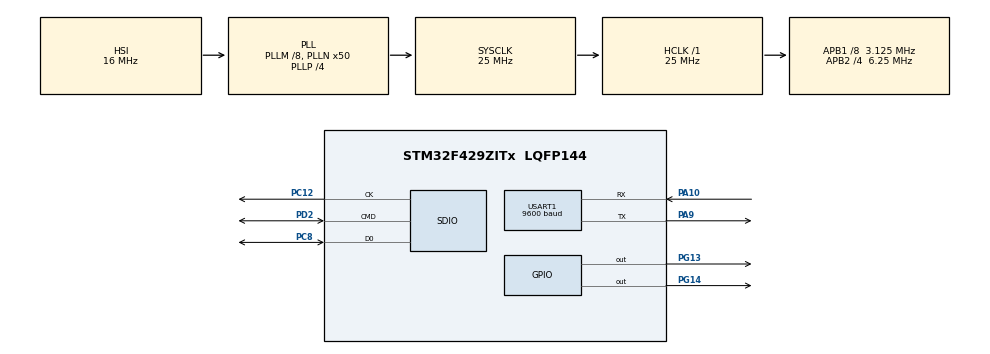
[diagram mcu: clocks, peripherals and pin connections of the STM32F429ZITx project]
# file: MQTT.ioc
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Dma.Request0=USART1_RX
Dma.Request1=USART1_TX
Dma.USART1_RX.0.Direction=DMA_PERIPH_TO_MEMORY
Dma.USART1_RX.0.FIFOMode=DMA_FIFOMODE_DISABLE
Dma.USART1_RX.0.Instance=DMA2_Stream2
Dma.USART1_RX.0.MemDataAlignment=DMA_MDATAALIGN_BYTE
Dma.USART1_RX.0.MemInc=DMA_MINC_ENABLE
Dma.USART1_RX.0.Mode=DMA_NORMAL
Dma.USART1_RX.0.PeriphDataAlignment=DMA_PDATAALIGN_BYTE
Dma.USART1_RX.0.PeriphInc=DMA_PINC_DISABLE
Dma.USART1_RX.0.Priority=DMA_PRIORITY_LOW
Dma.USART1_TX.1.Direction=DMA_MEMORY_TO_PERIPH
Dma.USART1_TX.1.FIFOMode=DMA_FIFOMODE_DISABLE
Dma.USART1_TX.1.Instance=DMA2_Stream7
Dma.USART1_TX.1.MemDataAlignment=DMA_MDATAALIGN_BYTE
Dma.USART1_TX.1.MemInc=DMA_MINC_ENABLE
Dma.USART1_TX.1.Mode=DMA_NORMAL
Dma.USART1_TX.1.PeriphDataAlignment=DMA_PDATAALIGN_BYTE
Dma.USART1_TX.1.PeriphInc=DMA_PINC_DISABLE
Dma.USART1_TX.1.Priority=DMA_PRIORITY_LOW
FATFS.USE_DMA_CODE_SD=0
Mcu.Family=STM32F4
Mcu.Name=STM32F429ZITx
Mcu.Package=LQFP144
NVIC.DMA2_Stream2_IRQn=true\:0\:0\:false\:false\:true\:false
NVIC.DMA2_Stream7_IRQn=true\:0\:0\:false\:false\:true\:false
NVIC.PriorityGroup=NVIC_PRIORITYGROUP_0
NVIC.USART1_IRQn=true\:0\:0\:false\:false\:true\:true
PA10.Mode=Asynchronous
PA10.Signal=USART1_RX
PA9.Mode=Asynchronous
PA9.Signal=USART1_TX
PC12.GPIO_PuPd=GPIO_PULLUP
PC12.Mode=SD_1_bit
PC12.Signal=SDIO_CK
PC8.GPIO_PuPd=GPIO_PULLUP
PC8.Mode=SD_1_bit
PC8.Signal=SDIO_D0
PD2.GPIO_PuPd=GPIO_PULLUP
PD2.Mode=SD_1_bit
PD2.Signal=SDIO_CMD
PG13.Signal=GPIO_Output
PG14.Signal=GPIO_Output
ProjectManager.HeapSize=0x200
ProjectManager.StackSize=0x400
ProjectManager.TargetToolchain=MDK-ARM V5
RCC.48MHZClocksFreq_Value=14285714.285714285
RCC.AHBFreq_Value=25000000
RCC.APB1CLKDivider=RCC_HCLK_DIV8
RCC.APB1Freq_Value=3125000
RCC.APB1TimFreq_Value=6250000
RCC.APB2CLKDivider=RCC_HCLK_DIV4
RCC.APB2Freq_Value=6250000
RCC.APB2TimFreq_Value=12500000
RCC.CortexFreq_Value=25000000
RCC.HCLKFreq_Value=25000000
RCC.HSE_VALUE=8000000
RCC.HSI_VALUE=16000000
RCC.LSE_VALUE=32768
RCC.PLLM=8
RCC.PLLN=50
RCC.PLLP=RCC_PLLP_DIV4
RCC.PLLQ=7
RCC.SYSCLKFreq_VALUE=25000000
RCC.SYSCLKSource=RCC_SYSCLKSOURCE_PLLCLK
RCC.VCOOutputFreq_Value=100000000
USART1.BaudRate=9600
USART1.VirtualMode=VM_ASYNC
VP_FATFS_VS_SDIO.Mode=SDIO
board=STM32F429I-DISC1

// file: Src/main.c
/**
  ******************************************************************************
  * File Name          : main.c
  * Description        : Main program body
  ******************************************************************************
  * This notice applies to any and all portions of this file
  * that are not between comment pairs USER CODE BEGIN and
  * USER CODE END. Other portions of this file, whether
  * inserted by the user or by software development tools
  * are owned by their respective copyright owners.
  *
  * Copyright (c) 2018 STMicroelectronics International N.V.
  * All rights reserved.
  *
  * Redistribution and use in source and binary forms, with or without
  * modification, are permitted, provided that the following conditions are met:
  *
  * 1. Redistribution of source code must retain the above copyright notice,
  *    this list of conditions and the following disclaimer.
  * 2. Redistributions in binary form must reproduce the above copyright notice,
  *    this list of conditions and the following disclaimer in the documentation
  *    and/or other materials provided with the distribution.
  * 3. Neither the name of STMicroelectronics nor the names of other
  *    contributors to this software may be used to endorse or promote products
  *    derived from this software without specific written permission.
  * 4. This software, including modifications and/or derivative works of this
  *    software, must execute solely and exclusively on microcontroller or
  *    microprocessor devices manufactured by or for STMicroelectronics.
  * 5. Redistribution and use of this software other than as permitted under
  *    this license is void and will automatically terminate your rights under
  *    this license.
  *
  * THIS SOFTWARE IS PROVIDED BY STMICROELECTRONICS AND CONTRIBUTORS "AS IS"
  * AND ANY EXPRESS, IMPLIED OR STATUTORY WARRANTIES, INCLUDING, BUT NOT
  * LIMITED TO, THE IMPLIED WARRANTIES OF MERCHANTABILITY, FITNESS FOR A
  * PARTICULAR PURPOSE AND NON-INFRINGEMENT OF THIRD PARTY INTELLECTUAL PROPERTY
  * RIGHTS ARE DISCLAIMED TO THE FULLEST EXTENT PERMITTED BY LAW. IN NO EVENT
  * SHALL STMICROELECTRONICS OR CONTRIBUTORS BE LIABLE FOR ANY DIRECT, INDIRECT,
  * INCIDENTAL, SPECIAL, EXEMPLARY, OR CONSEQUENTIAL DAMAGES (INCLUDING, BUT NOT
  * LIMITED TO, PROCUREMENT OF SUBSTITUTE GOODS OR SERVICES; LOSS OF USE, DATA,
  * OR PROFITS; OR BUSINESS INTERRUPTION) HOWEVER CAUSED AND ON ANY THEORY OF
  * LIABILITY, WHETHER IN CONTRACT, STRICT LIABILITY, OR TORT (INCLUDING
  * NEGLIGENCE OR OTHERWISE) ARISING IN ANY WAY OUT OF THE USE OF THIS SOFTWARE,
  * EVEN IF ADVISED OF THE POSSIBILITY OF SUCH DAMAGE.
  *
  ******************************************************************************
  */

#include "main.h"
#include "stm32f4xx_hal.h"
#include "fatfs.h"

/* USER CODE BEGIN Includes */
#include <string.h>
#include <stdlib.h>
#include <stdio.h>
#include <stdbool.h>
#include "MQTTPacket.h"
/* USER CODE END Includes */

SD_HandleTypeDef hsd;

UART_HandleTypeDef huart1;
DMA_HandleTypeDef hdma_usart1_rx;
DMA_HandleTypeDef hdma_usart1_tx;

/* USER CODE BEGIN PV */
HAL_SD_CardInfoTypeDef SDCardInfo;
/* Private variables ---------------------------------------------------------*/
FRESULT res;
#define RX_TIMEOUT          ((uint32_t)0xFFFFFFFF)
char* UploadFile = "upload.txt";
/* USER CODE END PV */

void SystemClock_Config(void);
static void MX_GPIO_Init(void);
static void MX_DMA_Init(void);
static void MX_USART1_UART_Init(void);
static void MX_SDIO_SD_Init(void);

/* USER CODE BEGIN PFP */
/* Private function prototypes -----------------------------------------------*/
void main_menu(void);
void mqtt_init(void);
int read_file(char* filename, char* Buff);
void mqtt_pub(void);
void mqtt_connect(void);
int fsize(char* file);
void gprs_initialize(void);
/* USER CODE END PFP */

/* USER CODE BEGIN 0 */
char buffr[500];
unsigned char SMSCTRLZ   = 0x1A;
char mx[60];char vx[50];
uint8_t receive,rx=0,cnt=0;
unsigned int z=0;
bool UPLOAD_FILE=false,LOG_DATA=false;
char data[200];
void HAL_UART_RxCpltCallback(UART_HandleTypeDef *huart);
/* USER CODE END 0 */

int main(void)
{

  /* MCU Configuration----------------------------------------------------------*/

  /* Reset of all peripherals, Initializes the Flash interface and the Systick. */
  HAL_Init();

  /* Configure the system clock */
  SystemClock_Config();

  /* Initialize all configured peripherals */
  MX_GPIO_Init();
  MX_DMA_Init();
  MX_USART1_UART_Init();
  MX_SDIO_SD_Init();
  MX_FATFS_Init();

  /* USER CODE BEGIN 2 */
   res = f_mount(&SDFatFS, SDPath, 1);
   if(res!=FR_OK){HAL_UART_Transmit_DMA(&huart1,(uint8_t *)"SD Card Not Mounted\r\n",21);}
   else
    {
      HAL_UART_Transmit_DMA(&huart1,(uint8_t *)"SD Card Mounted\r\n",17);
      main_menu();//Displays Run time Status on Serial Port
    }
   	HAL_GPIO_TogglePin(GPIOG,GPIO_PIN_13);
  /* USER CODE END 2 */

  /* Infinite loop */
  /* USER CODE BEGIN WHILE */
  while (1)
  {
    if(UPLOAD_FILE == true)
    {
			memset(buffr,'\0',sizeof(buffr));
		  int leng = read_file(UploadFile,buffr);
			/*Introduced As Guard Time or UART transmission fucks Up(Spent 5 hrs on this)
			NOT Necessary here but was a PINTA when executing two UART_transmit command successively.
			*/
			HAL_Delay(300);
      mqtt_pub();
      UPLOAD_FILE=false;
    }
		HAL_Delay(50);
  /* USER CODE END WHILE */

  }

}

/** System Clock Configuration
*/
void SystemClock_Config(void)
{

  RCC_OscInitTypeDef RCC_OscInitStruct;
  RCC_ClkInitTypeDef RCC_ClkInitStruct;

    /**Configure the main internal regulator output voltage
    */
  __HAL_RCC_PWR_CLK_ENABLE();

  __HAL_PWR_VOLTAGESCALING_CONFIG(PWR_REGULATOR_VOLTAGE_SCALE3);

    /**Initializes the CPU, AHB and APB busses clocks
    */
  RCC_OscInitStruct.OscillatorType = RCC_OSCILLATORTYPE_HSI;
  RCC_OscInitStruct.HSIState = RCC_HSI_ON;
  RCC_OscInitStruct.HSICalibrationValue = 16;
  RCC_OscInitStruct.PLL.PLLState = RCC_PLL_ON;
  RCC_OscInitStruct.PLL.PLLSource = RCC_PLLSOURCE_HSI;
  RCC_OscInitStruct.PLL.PLLM = 8;
  RCC_OscInitStruct.PLL.PLLN = 50;
  RCC_OscInitStruct.PLL.PLLP = RCC_PLLP_DIV4;
  RCC_OscInitStruct.PLL.PLLQ = 7;
  if (HAL_RCC_OscConfig(&RCC_OscInitStruct) != HAL_OK)
  {
    _Error_Handler(__FILE__, __LINE__);
  }

    /**Initializes the CPU, AHB and APB busses clocks
    */
  RCC_ClkInitStruct.ClockType = RCC_CLOCKTYPE_HCLK|RCC_CLOCKTYPE_SYSCLK
                              |RCC_CLOCKTYPE_PCLK1|RCC_CLOCKTYPE_PCLK2;
  RCC_ClkInitStruct.SYSCLKSource = RCC_SYSCLKSOURCE_PLLCLK;
  RCC_ClkInitStruct.AHBCLKDivider = RCC_SYSCLK_DIV1;
  RCC_ClkInitStruct.APB1CLKDivider = RCC_HCLK_DIV8;
  RCC_ClkInitStruct.APB2CLKDivider = RCC_HCLK_DIV4;

  if (HAL_RCC_ClockConfig(&RCC_ClkInitStruct, FLASH_LATENCY_0) != HAL_OK)
  {
    _Error_Handler(__FILE__, __LINE__);
  }

    /**Configure the Systick interrupt time
    */
  HAL_SYSTICK_Config(HAL_RCC_GetHCLKFreq()/1000);

    /**Configure the Systick
    */
  HAL_SYSTICK_CLKSourceConfig(SYSTICK_CLKSOURCE_HCLK);

  /* SysTick_IRQn interrupt configuration */
  HAL_NVIC_SetPriority(SysTick_IRQn, 0, 0);
}

/* SDIO init function */
static void MX_SDIO_SD_Init(void)
{

  hsd.Instance = SDIO;
  hsd.Init.ClockEdge = SDIO_CLOCK_EDGE_RISING;
  hsd.Init.ClockBypass = SDIO_CLOCK_BYPASS_DISABLE;
  hsd.Init.ClockPowerSave = SDIO_CLOCK_POWER_SAVE_DISABLE;
  hsd.Init.BusWide = SDIO_BUS_WIDE_1B;
  hsd.Init.HardwareFlowControl = SDIO_HARDWARE_FLOW_CONTROL_DISABLE;
  hsd.Init.ClockDiv = 0;

}

/* USART1 init function */
static void MX_USART1_UART_Init(void)
{

  huart1.Instance = USART1;
  huart1.Init.BaudRate = 9600;
  huart1.Init.WordLength = UART_WORDLENGTH_8B;
  huart1.Init.StopBits = UART_STOPBITS_1;
  huart1.Init.Parity = UART_PARITY_NONE;
  huart1.Init.Mode = UART_MODE_TX_RX;
  huart1.Init.HwFlowCtl = UART_HWCONTROL_NONE;
  huart1.Init.OverSampling = UART_OVERSAMPLING_16;
  if (HAL_UART_Init(&huart1) != HAL_OK)
  {
    _Error_Handler(__FILE__, __LINE__);
  }

}

static void MX_DMA_Init(void)
{
  /* DMA controller clock enable */
  __HAL_RCC_DMA2_CLK_ENABLE();

  /* DMA interrupt init */
  /* DMA2_Stream2_IRQn interrupt configuration */
  HAL_NVIC_SetPriority(DMA2_Stream2_IRQn, 0, 0);
  HAL_NVIC_EnableIRQ(DMA2_Stream2_IRQn);
  /* DMA2_Stream7_IRQn interrupt configuration */
  HAL_NVIC_SetPriority(DMA2_Stream7_IRQn, 0, 0);
  HAL_NVIC_EnableIRQ(DMA2_Stream7_IRQn);

}

/** Configure pins as
        * Analog
        * Input
        * Output
        * EVENT_OUT
        * EXTI
*/
static void MX_GPIO_Init(void)
{

  GPIO_InitTypeDef GPIO_InitStruct;

  /* GPIO Ports Clock Enable */
  __HAL_RCC_GPIOC_CLK_ENABLE();
  __HAL_RCC_GPIOA_CLK_ENABLE();
  __HAL_RCC_GPIOD_CLK_ENABLE();
  __HAL_RCC_GPIOG_CLK_ENABLE();

  /*Configure GPIO pin Output Level */
  HAL_GPIO_WritePin(GPIOG, GPIO_PIN_13|GPIO_PIN_14, GPIO_PIN_RESET);

  /*Configure GPIO pins : PG13 PG14 */
  GPIO_InitStruct.Pin = GPIO_PIN_13|GPIO_PIN_14;
  GPIO_InitStruct.Mode = GPIO_MODE_OUTPUT_PP;
  GPIO_InitStruct.Pull = GPIO_NOPULL;
  GPIO_InitStruct.Speed = GPIO_SPEED_FREQ_LOW;
  HAL_GPIO_Init(GPIOG, &GPIO_InitStruct);

}

/* USER CODE BEGIN 4 */
int read_file(char* filename, char* Buff)
{
  int j=0;
  while(z<fsize(UploadFile))
  {
		f_open(&SDFile,UploadFile,FA_READ);
    char mydata[15]="\0";
    memset(mydata,0,sizeof(mydata));
    f_lseek(&SDFile, z);
    f_gets(mydata,sizeof(mydata),&SDFile);
    z +=strlen(mydata);
    j += sprintf( Buff + j, mydata);
		f_close(&SDFile);
  }
  return z;
}
void gprs_initialize(void)
{
  char AT [9][30] = {
       "AT+QIFGCNT=0\r\n","AT+QICSGP=1,\"CMNET\"\r\n","AT+QIMUX=0\r\n","AT+QIMODE=1\r\n"
       ,"AT+QITCFG=3,2,512,1\r\n","AT+QIDNSIP=1\r\n","AT+QIREGAPP\r\n","AT+QIACT\r\n","AT+QILOCIP\r\n"};
  if(cnt<=8)
  {
    char mydata[100]="\0";
    sprintf(mydata,"%s",AT[cnt]);
    HAL_UART_Transmit_DMA(&huart1,(uint8_t*)&mydata,strlen(mydata));
    ++cnt;
  }
}
void HAL_UART_RxCpltCallback(UART_HandleTypeDef *huart)
{
  HAL_UART_Receive_DMA(&huart1,(uint8_t *)&receive,sizeof(receive));
  data[rx]=receive;
   if((strstr(data,"SMS Ready")!=NULL)&&(strstr(data,"+CIEV:")!=NULL))
   {
      HAL_UART_Transmit_DMA(&huart1,(uint8_t *)"AT\r\n",4);
      memset(data,'\0',sizeof(data));rx=0;
   }
   else if(data[rx-3]=='O'&&data[rx-2]=='K'&&data[rx-1]=='\r'&&data[rx]=='\n')
   {
    gprs_initialize();
    memset(data,'\0',sizeof(data));rx=0;
   }

   else if(cnt==9)
   {
    memset(data,'\0',sizeof(data));rx=0;
    ++cnt;
    HAL_UART_Transmit_DMA(&huart1,(uint8_t *)"AT+QIOPEN=\"TCP\",\"DOMAIN_NAME\",\"PORT\"\r\n",45);
   }
    //For Connecting to the HTTP Server
  //else if(data[rx-6]=='C'&&data[rx-5]=='O'&&data[rx-4]=='N'&&data[rx-3]=='N'&&data[rx-2]=='E'&&data[rx-1]=='C'&&data[rx]=='T')//Furtehr Add OR condition for continuous data logging
  else if((strstr(data,"CONNECT\r\n")!=NULL)||cnt==11)
	{
			if(cnt==10)
			{
				mqtt_connect();
				++cnt;
			}
			else if(cnt==11)
			{
				/*TODO: Verify after mqtt_connect does it return CONNECT or just some encoded text*/
				UPLOAD_FILE=true;
				HAL_GPIO_TogglePin(GPIOG,GPIO_PIN_14);
				++cnt;
			}
      memset(data,'\0',sizeof(data));rx=0;
     }
	  else{rx++;}
}
void mqtt_connect(void)
{
MQTTPacket_connectData datas = MQTTPacket_connectData_initializer;
unsigned char buf[200];
MQTTString topicString = MQTTString_initializer;
int buflen = sizeof(buf);

datas.username.cstring = "*****";//Port to your requirement
datas.password.cstring = "********";//Port to your requirement
datas.clientID.cstring = "*********";//Port to your requirement
datas.keepAliveInterval = 120;
datas.cleansession = 1;
int len = MQTTSerialize_connect(buf, buflen, &datas);

HAL_UART_Transmit_DMA(&huart1,(uint8_t *)&buf,len);
}

 void mqtt_pub()
 {
unsigned char buf[600];
MQTTString topicString = MQTTString_initializer;
int payloadlen = strlen(buffr);
int buflen = sizeof(buf);
topicString.cstring = "rtc";
int len = MQTTSerialize_publish(buf, buflen , 0, 0, 0, 0, topicString, buffr, payloadlen);
HAL_UART_Transmit_DMA(&huart1,(uint8_t *)&buf,len);
}

void main_menu(void)
{
  char tx[200];
  sprintf(tx,"\r\n================= Main Menu ==================\r\n\n");
    HAL_UART_Transmit_DMA(&huart1,(uint8_t *)&tx,strlen(tx));
    HAL_Delay(100);
    memset(tx,'\0',sizeof(tx));
    sprintf(tx,"  Sync Data       ------------------------------ 0\r\n\n");
    HAL_UART_Transmit_DMA(&huart1,(uint8_t *)&tx,strlen(tx));
    HAL_Delay(100);
    memset(tx,'\0',sizeof(tx));
    sprintf(tx,"  Run application ----------------------------- 1\r\n\n");
    HAL_UART_Transmit_DMA(&huart1,(uint8_t *)&tx,strlen(tx));
    HAL_Delay(100);
    memset(tx,'\0',sizeof(tx));
    HAL_UART_Receive(&huart1, &cnt, 1, RX_TIMEOUT);
    if(cnt=='0')
    {
      HAL_UART_Transmit_DMA(&huart1,(uint8_t *)"RESET the EVAL-BOARD\r\n",22);
      HAL_UART_Receive_DMA(&huart1,(uint8_t *)&receive,sizeof(receive));
      cnt=0;
    }
    else if(cnt=='1')
    {
      LOG_DATA=true;
      cnt=0;
    }
}
int fsize(char* file)
{
    int len =0;
    f_open(&SDFile,file, FA_READ);
    len =  (int)f_size(&SDFile);
    f_close(&SDFile);
    return len;
}

/* USER CODE END 4 */

void _Error_Handler(char * file, int line)
{
  while(1)
  {
  }
}

/************************ (C) COPYRIGHT STMicroelectronics *****END OF FILE****/
